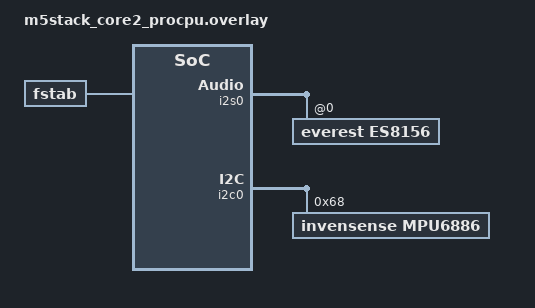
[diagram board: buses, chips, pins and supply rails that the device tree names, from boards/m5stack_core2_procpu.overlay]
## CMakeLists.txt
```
cmake_minimum_required(VERSION 3.20.0)
find_package(Zephyr REQUIRED HINTS $ENV{ZEPHYR_BASE})
project(prac2)

FILE(GLOB app_sources src/*.c)

FILE(GLOB lib_sources ../../lib/*.c)

target_sources(app PRIVATE ${app_sources} ${lib_sources})

target_include_directories(app PRIVATE ../../include)
```

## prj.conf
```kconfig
# Shell + CLI Support
CONFIG_SHELL=y
CONFIG_SHELL_BACKEND_SERIAL=y
CONFIG_KERNEL_SHELL=y
CONFIG_DEVICE_SHELL=y
CONFIG_SHELL_CMDS=y
CONFIG_SHELL_HELP=y
CONFIG_SHELL_HISTORY=y
CONFIG_SHELL_VT100_COLORS=y
CONFIG_SHELL_VT100_COMMANDS=y
CONFIG_FILE_SYSTEM_SHELL=y
CONFIG_SPI=y

# # File System
# CONFIG_FILE_SYSTEM=y
# CONFIG_FILE_SYSTEM_LITTLEFS=y
# CONFIG_FLASH=y
# CONFIG_FLASH_MAP=y
# CONFIG_FILE_SYSTEM_EXT2=y
# CONFIG_DISK_ACCESS=y
# CONFIG_DISK_DRIVER_SDMMC=y
# CONFIG_EXT2_DISK_STARTING_SECTOR=2082

# Logging
CONFIG_LOG=y
CONFIG_LOG_MODE_MINIMAL=y
CONFIG_SHELL_LOG_BACKEND=y
CONFIG_LOG_CMDS=y

# CONFIG_SDHC_LOG_LEVEL_DBG=y
# CONFIG_LOG_MODE_IMMEDIATE=y
# CONFIG_SPI_LOG_LEVEL_DBG=y

# # Display
# CONFIG_LVGL=y
# CONFIG_LV_Z_MEM_POOL_SIZE=16384
# CONFIG_LV_Z_SHELL=y
# CONFIG_LV_USE_LOG=y
# CONFIG_LV_USE_LABEL=y
# CONFIG_LV_USE_ARC=y
# CONFIG_LV_USE_MONKEY=y
# CONFIG_LV_FONT_MONTSERRAT_14=y
# CONFIG_DISPLAY=y
# CONFIG_DISPLAY_LOG_LEVEL_ERR=y

# Stack & Runtime
CONFIG_MAIN_STACK_SIZE=4096

# # Sound
# CONFIG_I2S=y

CONFIG_FPU=y
```

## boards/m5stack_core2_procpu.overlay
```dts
/ {
    aliases {
        i2s-tx = &i2s0;
    };

    fstab {
        compatible = "zephyr,fstab";
        lfs1: lfs1 {
            compatible = "zephyr,fstab,littlefs";
            mount-point = "/lfs1";
            partition = <&storage_partition>;
            automount;
            read-size = <16>;
            prog-size = <16>;
            cache-size = <64>;
            lookahead-size = <32>;
            block-cycles = <512>;
        };
    };
};

&pinctrl {
    i2s0_default: i2s0_default {
        group1 {
            pinmux = <I2S0_O_WS_GPIO0>,   /* LRCK */
                     <I2S0_O_BCK_GPIO12>, /* BCLK */
                     <I2S0_O_SD_GPIO2>;   /* SADTA */
            output-enable;
        };
    };
};

&i2s0 {
    status = "okay";
    pinctrl-0 = <&i2s0_default>;
    pinctrl-names = "default";
    #address-cells = <1>;
    #size-cells = <0>;

    es8156: codec@0 {
        compatible = "everest,es8156";
        reg = <0>;
    };
};

&i2c0 {
    mpu6886: mpu6886@68 {
        compatible = "invensense,mpu6886";
        reg = <0x68>;
        status = "okay";
    };
};
```

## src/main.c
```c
#include "mpu6886.h"
#include <zephyr/device.h>

void main(void) {
    mpu6886_accel_t accel;

    if (!device_is_ready(mpu6886_i2c.bus)) {
        printk("I2C bus not ready\n");
        return;
    }

    if (mpu6886_init() < 0) {
        printk("Failed to initialize MPU6886\n");
        return;
    }

    while (1) {
        if (mpu6886_read_accel(&accel) == 0) {
            printk("X: %.2f, Y: %.2f, Z: %.2f\n", accel.x, accel.y, accel.z);
            float magnitude = mpu6886_get_adjusted_accel_magnitude(&accel);
            printk("Magnitude: %.2f\n", magnitude);
        } else {
            printk("Failed to read accelerometer data\n");
        }
        k_sleep(K_MSEC(100));
    }
}
```
